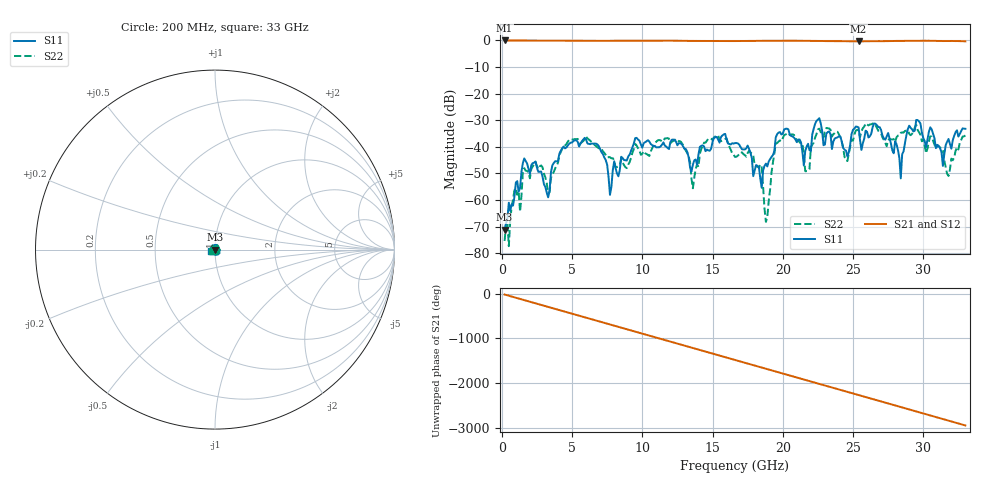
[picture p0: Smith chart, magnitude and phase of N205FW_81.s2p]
# GHZ S RI R 50
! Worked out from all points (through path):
!   329 points, 200 MHz to 33 GHz, reference 50 ohm
!   highest |S21| = -0.01 dB at 200 MHz (marker M1); lowest = -0.3 dB at 25.4 GHz (marker M2)
!   group delay of S21, straight-line fit = 248 ps
!   lowest |S11| = -71.2 dB at 200 MHz (marker M3), VSWR 1.00, Z = 50 - j0.0273 ohm
!   |S11| at or under -10 dB: start of sweep to end of sweep
!   |S22| runs from -77.4 to -31.1 dB; largest |S21 - S12| = 0.0022
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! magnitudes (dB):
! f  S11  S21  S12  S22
! 200 MHz  -71.2  0.0  0.0  -75.4
! 1.6 GHz  -44.4  0.0  0.0  -48.0
! 3.3 GHz  -59.0  -0.1  -0.1  -57.3
! 5.7 GHz  -37.9  -0.1  -0.1  -38.3
! 7.7 GHz  -58.1  -0.1  -0.1  -43.9
! 9.5 GHz  -36.7  -0.1  -0.1  -38.9
! 11.2 GHz  -40.2  -0.1  -0.1  -37.5
! 13.6 GHz  -46.8  -0.2  -0.2  -55.6
! 14.7 GHz  -41.4  -0.2  -0.2  -37.0
! 16.6 GHz  -38.6  -0.2  -0.2  -43.8
! 18.5 GHz  -55.4  -0.1  -0.1  -47.7
! 18.8 GHz  -46.3  -0.1  -0.1  -68.2
! 19.5 GHz  -36.5  -0.1  -0.1  -38.8
! 21.5 GHz  -47.0  -0.2  -0.2  -42.9
! 22.1 GHz  -35.3  -0.2  -0.2  -39.2
! 25.4 GHz  -32.7  -0.3  -0.3  -34.0
! 27.6 GHz  -36.9  -0.2  -0.2  -37.0
! 28.4 GHz  -51.9  -0.1  -0.1  -34.7
! 29.5 GHz  -29.9  -0.2  -0.2  -31.7
! 31.4 GHz  -47.2  -0.2  -0.2  -41.0
! 31.8 GHz  -37.1  -0.2  -0.2  -51.0
! 33 GHz  -33.2  -0.3  -0.3  -35.7
